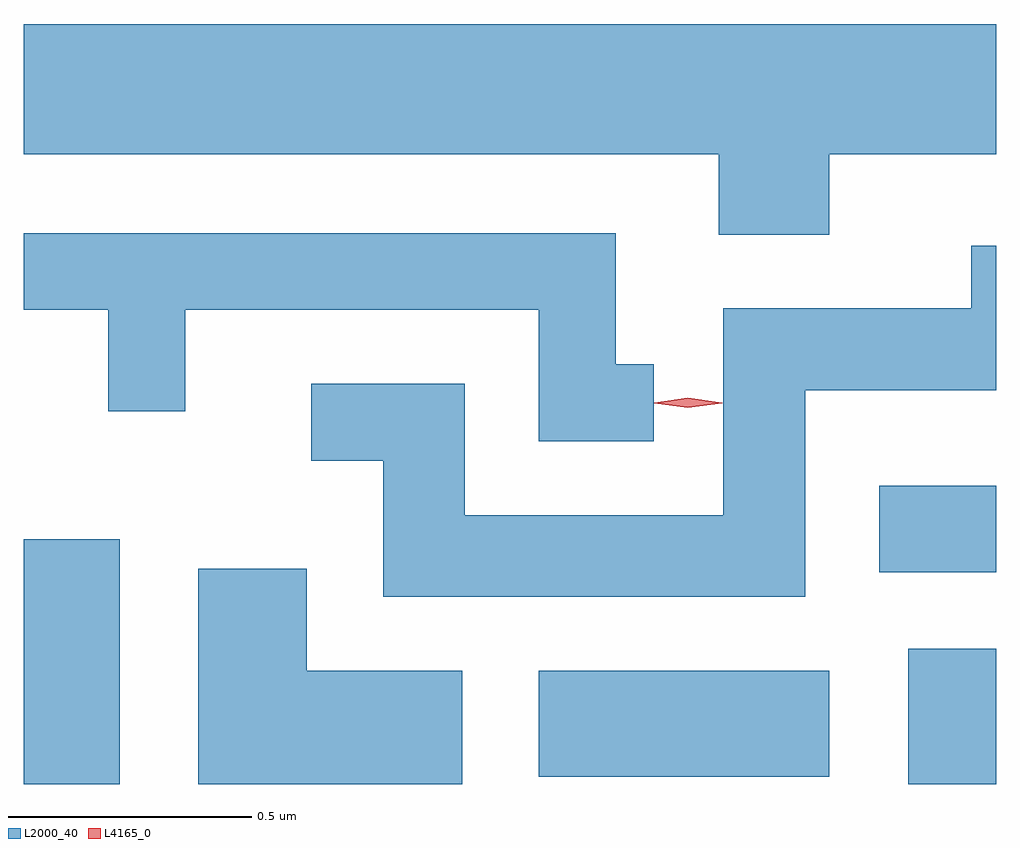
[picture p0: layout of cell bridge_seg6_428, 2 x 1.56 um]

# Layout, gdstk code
import gdstk
lib = gdstk.Library(unit=1e-6, precision=1e-09)
def R(c, l, rs):  # rectangles x0, y0, x1, y1
    for r in rs: c.add(gdstk.rectangle(r[:2], r[2:], *l))
def P(c, l, *ps):  # polygons
    for p in ps: c.add(gdstk.Polygon(p, *l))
L2000_40 = (2000, 40)
L4165_0 = (4165, 0)

bridge_seg6_428 = lib.new_cell('bridge_seg6_428')
R(bridge_seg6_428, L2000_40, [(905.042,1641.981,905.239,1642.484), (906.861,1641.981,907.042,1642.259), (906.101,1641.996,906.699,1642.214), (906.801,1642.416,907.042,1642.594)])
P(bridge_seg6_428, L2000_40, [(906.699,1643.276),(907.042,1643.276),(907.042,1643.544),(905.042,1643.544),(905.042,1643.276),(906.471,1643.276),(906.471,1643.111),(906.699,1643.111)],
  [(906.338,1642.844),(906.259,1642.844),(906.259,1643.114),(905.042,1643.114),(905.042,1642.956),(905.216,1642.956),(905.216,1642.748),(905.374,1642.748),(905.374,1642.956),(906.101,1642.956),(906.101,1642.686),(906.338,1642.686)],
  [(906.649,1642.791),(907.042,1642.791),(907.042,1643.088),(906.991,1643.088),(906.991,1642.959),(906.481,1642.959),(906.481,1642.534),(905.949,1642.534),(905.949,1642.804),(905.633,1642.804),(905.633,1642.646),(905.781,1642.646),(905.781,1642.366),(906.649,1642.366)],
  [(905.944,1642.214),(905.624,1642.214),(905.624,1642.424),(905.401,1642.424),(905.401,1641.981),(905.944,1641.981)])
P(bridge_seg6_428, L4165_0, [(906.408,1642.755),(906.339,1642.764),(906.339,1642.765),(906.339,1642.765),(906.408,1642.775),(906.478,1642.765),(906.478,1642.764),(906.478,1642.764)])

lib.write_gds('bridge_seg6_428.gds')
